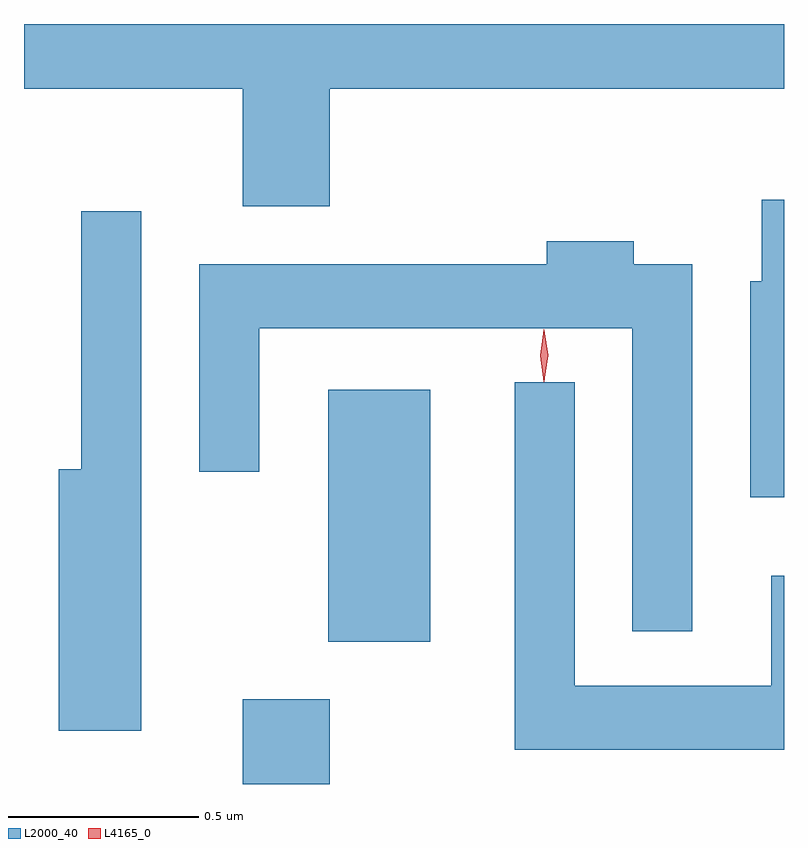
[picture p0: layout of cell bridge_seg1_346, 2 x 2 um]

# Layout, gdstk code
import gdstk
lib = gdstk.Library(unit=1e-6, precision=1e-09)
def R(c, l, rs):  # rectangles x0, y0, x1, y1
    for r in rs: c.add(gdstk.rectangle(r[:2], r[2:], *l))
def P(c, l, *ps):  # polygons
    for p in ps: c.add(gdstk.Polygon(p, *l))
L2000_40 = (2000, 40)
L4165_0 = (4165, 0)

bridge_seg1_346 = lib.new_cell('bridge_seg1_346')
R(bridge_seg1_346, L2000_40, [(926.921,879.986,927.149,880.209), (927.146,880.361,927.414,881.024)])
P(bridge_seg1_346, L2000_40, [(927.149,881.816),(928.345,881.816),(928.345,881.986),(926.345,881.986),(926.345,881.816),(926.921,881.816),(926.921,881.506),(927.149,881.506)],
  [(928.345,881.524),(928.286,881.524),(928.286,881.309),(928.256,881.309),(928.256,880.741),(928.345,880.741)],
  [(926.654,881.493),(926.496,881.493),(926.496,880.814),(926.436,880.814),(926.436,880.126),(926.654,880.126)],
  [(928.104,881.354),(927.949,881.354),(927.949,881.414),(927.721,881.414),(927.721,881.354),(926.806,881.354),(926.806,880.808),(926.964,880.808),(926.964,881.186),(927.946,881.186),(927.946,880.388),(928.104,880.388)],
  [(928.345,880.534),(928.311,880.534),(928.311,880.244),(927.794,880.244),(927.794,881.043),(927.636,881.043),(927.636,880.076),(928.345,880.076)])
P(bridge_seg1_346, L4165_0, [(927.713,881.043),(927.713,881.044),(927.703,881.113),(927.713,881.182),(927.713,881.183),(927.714,881.182),(927.723,881.113),(927.714,881.044)],
  [(927.713,881.047),(927.704,881.114),(927.713,881.18),(927.714,881.18),(927.714,881.18),(927.724,881.114),(927.714,881.047),(927.714,881.047)])

lib.write_gds('bridge_seg1_346.gds')
